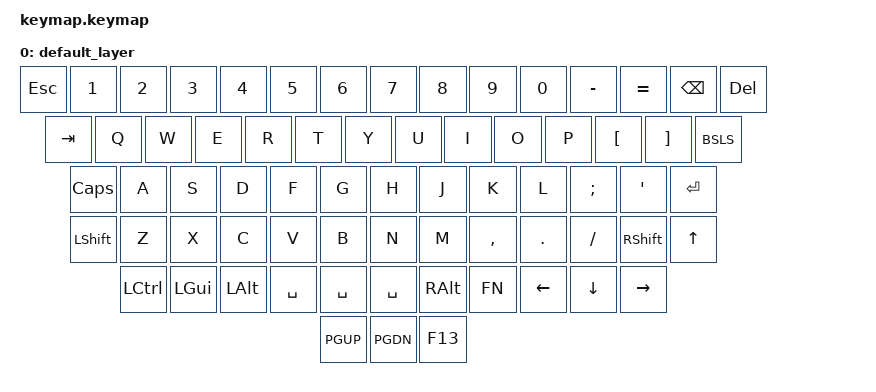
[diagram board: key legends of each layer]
/ {
    keymap {
        compatible = "zmk,keymap";

        default_layer {
            bindings = <
                // Row 1 (Esc row)
                &kp ESC &kp 1 &kp 2 &kp 3 &kp 4 &kp 5 &kp 6 &kp 7 &kp 8 &kp 9 &kp 0 &kp MINUS &kp EQUAL &kp BSPC &kp DEL
                // Row 2 (Tab row)
                &kp TAB &kp Q &kp W &kp E &kp R &kp T &kp Y &kp U &kp I &kp O &kp P &kp LBKT &kp RBKT &kp BSLS
                // Row 3 (Caps row)
                &kp CAPS &kp A &kp S &kp D &kp F &kp G &kp H &kp J &kp K &kp L &kp SEMI &kp SQT &kp ENTER
                // Row 4 (Shift row)
                &kp LSHIFT &kp Z &kp X &kp C &kp V &kp B &kp N &kp M &kp COMMA &kp DOT &kp SLASH &kp RSHIFT &kp UP
                // Row 5 (Bottom row)
                &kp LCTRL &kp LGUI &kp LALT &kp SPACE &kp SPACE &kp SPACE &kp RALT &kp FN &kp LEFT &kp DOWN &kp RIGHT
                // Extra keys (adjust location/usage as needed)
                &kp PGUP &kp PGDN &kp F13
            >;
        };
    };
};
